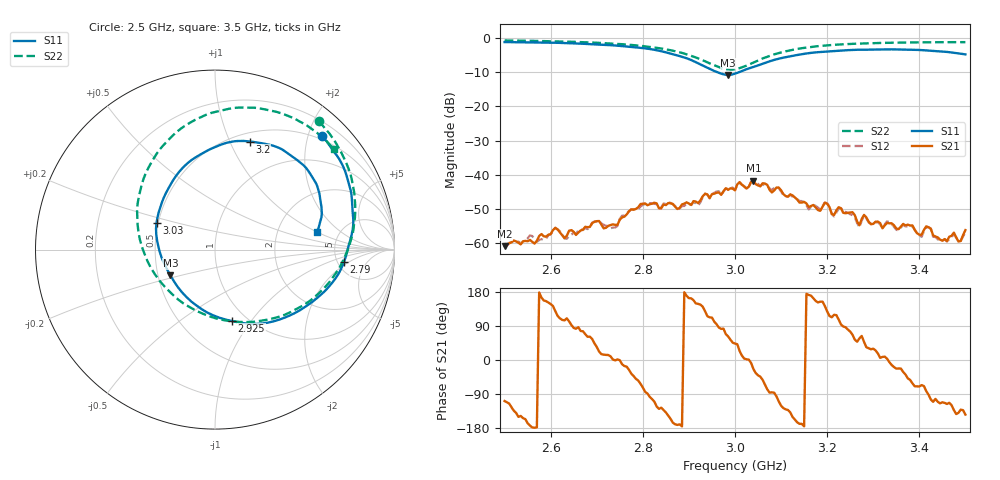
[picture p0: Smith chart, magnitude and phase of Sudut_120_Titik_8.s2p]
# Hz S RI R 50
! CMT, C1220, 16058040, 17.2.0/1
! Date: 15/08/2018 09:55:29
! Data: Format (Calibration Info)
! Freq  S11: Re/Im (F2)  S21: Re/Im (F2)  S12: Re/Im (F2)  S22: Re/Im (F2)
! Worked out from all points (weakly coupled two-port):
!   201 points, 2.5 GHz to 3.5 GHz, reference 50 ohm
!   highest |S21| = -41.75 dB at 3.04 GHz (marker M1); lowest = -60.9 dB at 2.5 GHz (marker M2)
!   lowest |S11| = -10.8 dB at 2.985 GHz (marker M3), VSWR 1.81, Z = 29.1 - j9.11 ohm
!   |S11| at or under -10 dB: 2.961 GHz to 3.009 GHz (48.1 MHz wide, 1.61 % of centre)
!   |S22| runs from -9.3 to -0.7 dB; largest |S21 - S12| = 0.00066
!   S11 on the Smith chart (normalised r, x): 2.5 GHz: 0.43, +2.25; 2.79 GHz: 5.69, -1.66; 2.925 GHz: 0.85, -0.81; 3.03 GHz: 0.49, +0.17; 3.2 GHz: 0.59, +1.19; 3.5 GHz: 3.40, +0.97
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2.5e9  0.5966 0.6329  -0.000285 -0.00086  -0.000322 -0.000926  0.5776 0.7137
2.67e9  0.7585 0.3171  0.000385 0.00153  0.000464 0.00149  0.7484 0.4389
2.74e9  0.7673 0.1131  0.00186 -3.19e-05  0.00169 7.67e-05  0.7806 0.2569
2.79e9  0.7182 -0.0698  0.00196 -0.00273  0.00174 -0.00263  0.768 0.0921
2.835e9  0.6068 -0.236  -0.00204 -0.00252  -0.00194 -0.00259  0.7047 -0.0795
2.925e9  0.0948 -0.3981  -0.00352 0.00237  -0.00345 0.00198  0.2906 -0.3906
2.985e9  -0.2483 -0.1439  0.0028 0.00534  0.00269 0.00559  -0.1802 -0.297
3e9  -0.2976 -0.0444  0.00431 0.00408  0.00456 0.00389  -0.2784 -0.2084
3.03e9  -0.3257 0.1492  0.00672 0.000112  0.00668 4.49e-05  -0.4067 0.0146
3.04e9  -0.3136 0.2084  0.00747 -0.00333  0.00762 -0.00324  -0.4264 0.0968
3.17e9  0.0983 0.6019  -0.00346 0.00107  -0.00357 0.000781  -0.0717 0.7411
3.2e9  0.1926 0.6022  -0.00235 0.00297  -0.0022 0.00314  0.04 0.7761
3.215e9  0.2392 0.5962  -0.00126 0.00225  -0.00106 0.00222  0.0925 0.7872
3.255e9  0.3456 0.5712  0.00113 0.00261  0.00119 0.00227  0.218 0.7906
3.27e9  0.3795 0.5546  0.000997 0.00153  0.000953 0.00142  0.2611 0.7845
3.28e9  0.4004 0.54  0.00174 0.00192  0.00162 0.00191  0.2877 0.7793
3.335e9  0.5063 0.4563  0.00195 -0.000192  0.00201 -0.000294  0.4147 0.7421
3.405e9  0.5786 0.3261  0.000535 -0.00122  0.000489 -0.00114  0.54 0.6711
3.415e9  0.5833 0.3009  0.000244 -0.00175  0.0003 -0.00167  0.5559 0.6604
3.45e9  0.5947 0.2145  -0.000401 -0.00101  -0.000432 -0.001  0.605 0.6199
3.49e9  0.5763 0.1192  -0.000708 -0.000816  -0.000791 -0.000753  0.652 0.5712
3.5e9  0.5666 0.0955  -0.00126 -0.000914  -0.00119 -0.000848  0.663 0.5595
